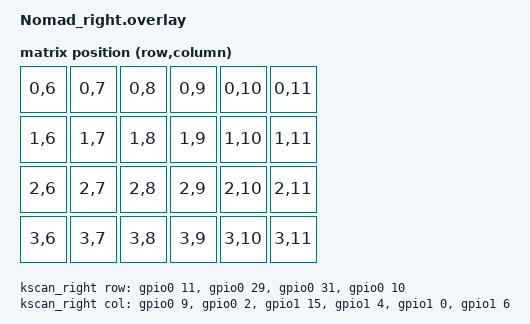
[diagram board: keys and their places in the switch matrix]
#include <dt-bindings/zmk/matrix_transform.h>

/ {
  chosen {
    zmk,kscan = &kscan_right;
    zmk,matrix_transform = &transform_right;
  };

  kscan_right: kscan {
    compatible = "zmk,kscan-gpio-matrix";
    label = "kscan_right";
    diode-direction = "col2row";

    row-gpios =
      <&gpio0 11 (GPIO_ACTIVE_HIGH | GPIO_PULL_DOWN)>,
      <&gpio0 29 (GPIO_ACTIVE_HIGH | GPIO_PULL_DOWN)>,
      <&gpio0 31 (GPIO_ACTIVE_HIGH | GPIO_PULL_DOWN)>,
      <&gpio0 10 (GPIO_ACTIVE_HIGH | GPIO_PULL_DOWN)>;

    col-gpios =
      <&gpio0 9 GPIO_ACTIVE_HIGH>,
      <&gpio0 2 GPIO_ACTIVE_HIGH>,
      <&gpio1 15 GPIO_ACTIVE_HIGH>,
      <&gpio1 4 GPIO_ACTIVE_HIGH>,
      <&gpio1 0 GPIO_ACTIVE_HIGH>,
      <&gpio1 6 GPIO_ACTIVE_HIGH>;
  };

  transform_right: matrix_transform {
    compatible = "zmk,matrix-transform";
    rows = <4>;
    columns = <6>;
    map = <
      RC(0,6) RC(0,7) RC(0,8) RC(0,9) RC(0,10) RC(0,11)
      RC(1,6) RC(1,7) RC(1,8) RC(1,9) RC(1,10) RC(1,11)
      RC(2,6) RC(2,7) RC(2,8) RC(2,9) RC(2,10) RC(2,11)
      RC(3,6) RC(3,7) RC(3,8) RC(3,9) RC(3,10) RC(3,11)
    >;
  };
};
